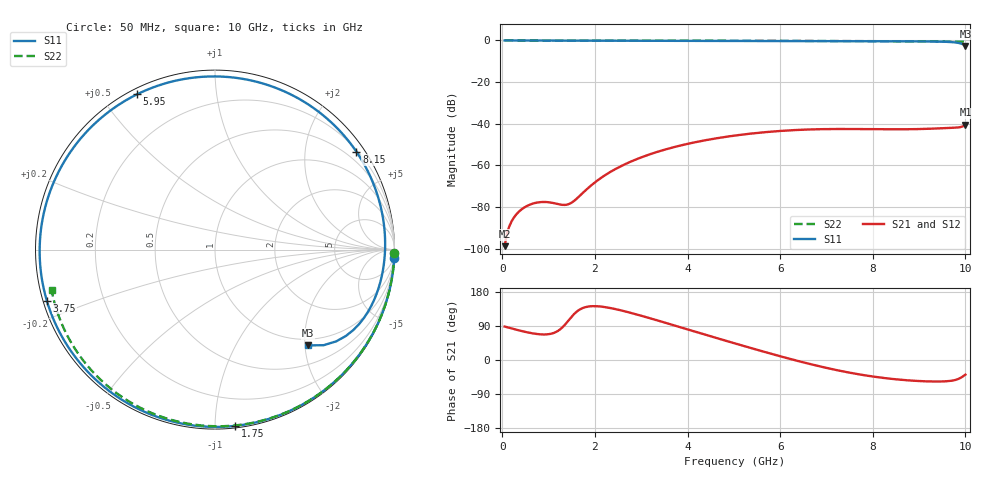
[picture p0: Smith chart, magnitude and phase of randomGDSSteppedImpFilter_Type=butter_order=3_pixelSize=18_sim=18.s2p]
! freq	dB(S11)	phase(S11)	dB(S12)	phase(S12)
!  dB(S21)	phase(S21)	dB(S22)	phase(S22)
!S-par simulation data
#  GHz  S  DB  R 50
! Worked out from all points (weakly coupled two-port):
!   200 points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, 50 MHz to 10 GHz, reference 50 ohm
!   highest |S21| = -40.53 dB at 10 GHz (marker M1); lowest = -98.8 dB at 50 MHz (marker M2)
!   lowest |S11| = -2.6 dB at 10 GHz (marker M3), VSWR 6.76, Z = 43.2 - j103 ohm
!   |S11| at or under -10 dB: nowhere
!   |S22| runs from -0.6 to 0.0 dB; largest |S21 - S12| = 0
!   S11 on the Smith chart (normalised r, x): 50 MHz: 0, -45; 1.75 GHz: 0.01, -1.12; 3.75 GHz: 0.01, -0.15; 5.95 GHz: 0.02, +0.62; 8.15 GHz: 0.24, +3.19; 10 GHz: 0.86, -2.06
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0.05  -0.00 -2.5  -98.85 88.3  -98.85 88.3  -0.00 -1.0
0.5  -0.03 -24.9  -79.92 74.1  -79.92 74.1  -0.01 -9.5
0.65  -0.04 -32.3  -78.45 70.4  -78.45 70.4  -0.02 -12.3
0.9  -0.06 -44.4  -77.61 67.3  -77.61 67.3  -0.02 -17.0
1.4  -0.08 -67.8  -78.88 100.0  -78.88 100.0  -0.03 -26.3
1.75  -0.10 -83.5  -73.03 137.7  -73.03 137.7  -0.04 -32.8
2.1  -0.11 -98.6  -66.54 141.4  -66.54 141.4  -0.05 -39.2
2.45  -0.13 -113.1  -61.71 134.2  -61.71 134.2  -0.06 -45.5
2.95  -0.15 -132.9  -56.62 118.5  -56.62 118.5  -0.07 -54.3
3.4  -0.17 -150.1  -53.18 102.7  -53.18 102.7  -0.08 -62.1
3.75  -0.18 -163.1  -51.02 89.9  -51.02 89.9  -0.09 -68.1
4.4  -0.21 173.2  -47.89 66.2  -47.89 66.2  -0.11 -79.0
5.05  -0.24 149.6  -45.62 42.8  -45.62 42.8  -0.14 -89.6
5.95  -0.28 116.7  -43.57 11.6  -43.57 11.6  -0.18 -103.8
6.7  -0.31 88.7  -42.73 -12.3  -42.73 -12.3  -0.23 -115.4
7.4  -0.34 62.5  -42.55 -31.1  -42.55 -31.1  -0.28 -126.0
8.15  -0.37 34.7  -42.67 -46.1  -42.67 -46.1  -0.34 -137.3
8.35  -0.38 27.4  -42.69 -49.0  -42.69 -49.0  -0.36 -140.4
8.9  -0.44 7.4  -42.62 -54.8  -42.62 -54.8  -0.42 -148.8
9.45  -0.57 -13.3  -42.23 -56.7  -42.23 -56.7  -0.48 -157.3
9.8  -1.00 -30.1  -41.88 -52.1  -41.88 -52.1  -0.53 -162.9
10  -2.59 -46.0  -40.53 -38.6  -40.53 -38.6  -0.55 -166.1
